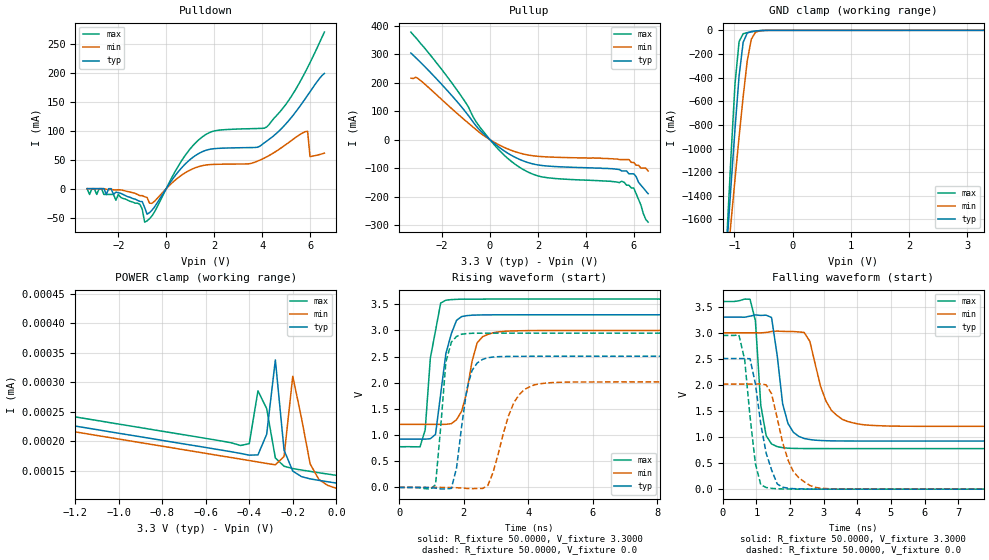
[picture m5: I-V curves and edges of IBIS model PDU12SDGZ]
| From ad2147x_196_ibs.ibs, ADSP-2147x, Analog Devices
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|   Model PDU12SDGZ
[Model]  PDU12SDGZ
Model_type I/O
Polarity   Non-Inverting
Enable   Active-Low
Vinl =   0.8000V
Vinh =   2.0000V
Vmeas =  1.6500V
Cref =   50.0000pF
Rref =   1.0000M
Vref =   0.0V
C_comp   3.1273pF   3.0540pF   3.2107pF
[Temperature Range]   25.0000   0.1250k   -40.0000
[Voltage Range]   3.3000V   3.0000V   3.6000V
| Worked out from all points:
|   slope of the pulldown table from 0 to 0.495 V, typ, clamps not added: 17.2 ohm
|   slope of the pullup table from 0 to 0.495 V, typ, clamps not added: 14.7 ohm
|   GND clamp passes 1 mA (typ) near -0.50 V on its own axis
|   POWER clamp passes 1 mA (typ) near -3.14 V on its own axis
|   rising waveform, R_fixture 50.0000, V_fixture 3.3000: 20-80 % time 360ps typ, 378ps min, 304ps max; typ from 0.924 V to 3.3 V
|   rising waveform, R_fixture 50.0000, V_fixture 0.0: 20-80 % time 350ps typ, 588ps min, 237ps max; typ from 0.001 V to 2.51 V
|   falling waveform, R_fixture 50.0000, V_fixture 3.3000: 20-80 % time 323ps typ, 522ps min, 214ps max; typ from 3.3 V to 0.924 V
|   falling waveform, R_fixture 50.0000, V_fixture 0.0: 20-80 % time 412ps typ, 522ps min, 283ps max; typ from 2.51 V to 0.001 V
[Pulldown]
|Voltage   I(typ)   I(min)   I(max)
-3.3V     0A         0A         0A
-1.1V     -22mA      -12mA      -27mA
-900mV    -32.5mA    -14mA      -57.82mA
-800mV    -44.05mA   -15.1mA    -55.6mA
-600mV    -37.35mA   -25.36mA   -47.27mA
600mV     33.96mA    22.08mA    45.46mA
1.5V      63.62mA    39.59mA    89.07mA
3.8V      71.36mA    47.3mA     103.7mA
4.3V      85.25mA    57.29mA    110.9mA
5.9V      161mA      98.95mA    209mA
6V        167mA      55.35mA    217.2mA
6.6V      198.6mA    61.25mA    270mA
[Pullup]
|Voltage   I(typ)   I(min)   I(max)
-3.3V     304.4mA    216.2mA    378mA
-3V       280.1mA    214.7mA    349mA
-1.6V     155.6mA    109.3mA    200.4mA
-400mV    31.78mA    23.06mA    42.13mA
900mV     -55.35mA   -37.84mA   -76.89mA
1.6V      -80.74mA   -54.02mA   -114.3mA
2.2V      -91.12mA   -59.76mA   -131.2mA
5.5V      -110mA     -70mA      -146mA
6V        -120mA     -80mA      -170mA
6.3V      -160mA     -100mA     -230mA
6.5V      -180mA     -100mA     -280mA
6.6V      -190mA     -110mA     -290mA
[GND_clamp]
|Voltage   I(typ)   I(min)   I(max)
-3.3V     -18.8A     -14.27A    -25.23A
-1.13V    -1.833A    -2.005A    -1.758A
-1.06V    -1.323A    -1.629A    -1.073A
-990mV    -833.7mA   -1.26A     -452.1mA
-920mV    -386mA     -901.5mA   -95.51mA
-850mV    -101.2mA   -561.6mA   -28.91mA
-780mV    -22.87mA   -257.9mA   -19.12mA
-710mV    -10.52mA   -75.06mA   -12.5mA
-640mV    -5.864mA   -17mA      -7.028mA
-570mV    -2.737mA   -4.59mA    -2.977mA
3.28V     128.5nA    160.5nA    124.7nA
[POWER_clamp]
|Voltage   I(typ)   I(min)   I(max)
-3.28V    87.8mA     355.9nA    3.529A
-2.92V    530.1nA    324.5nA    824.9mA
-2.76V    324.6nA    313.8nA    42.7mA
-2.52V    308.3nA    298.1nA    827.9nA
-2.4V     300.5nA    290.4nA    317.9nA
-400mV    176.8nA    167.7nA    196.2nA
-360mV    177.3nA    165.3nA    285.7nA
-280mV    338nA      160.5nA    172.1nA
-240mV    185.4nA    174.6nA    158.1nA
-200mV    149.9nA    310.3nA    154.2nA
-120mV    136.7nA    162nA      149.4nA
0V        129.6nA    120.8nA    142.7nA
[Ramp]
| variable   typ   min   max
dV/dt_r  1.5036/0.3496n   1.2097/0.5782n   1.7686/0.2369n
dV/dt_f  1.4257/0.3193n   1.0764/0.5223n   1.6927/0.2137n
R_load = 50.0000
[Rising Waveform]
R_fixture= 50.0000
V_fixture= 3.3000
V_fixture_min= 3.0000
V_fixture_max= 3.6000
L_fixture= 0.0H
C_fixture= 0.0F
|time   V(typ)   V(min)   V(max)
0s        923.8mV    1.206V     778.8mV
650ps     923.5mV    1.206V     776.7mV
810ps     922.9mV    1.206V     1.102V
970ps     932.5mV    1.206V     2.474V
1.13ns    1.014V     1.206V     2.996V
1.45ns    2.556V     1.207V     3.578V
1.78ns    3.193V     1.294V     3.595V
2.42ns    3.295V     2.765V     3.599V
2.91ns    3.299V     2.955V     3.6V
16ns      3.3V       3V         3.6V
[Rising Waveform]
R_fixture= 50.0000
V_fixture= 0.0
V_fixture_min= 0.0
V_fixture_max= 0.0
L_fixture= 0.0H
C_fixture= 0.0F
|time   V(typ)   V(min)   V(max)
0s        1.01mV     787.1uV    1.282mV
1.13ns    -12.08mV   853.7uV    52.52mV
1.45ns    -28.47mV   378.9uV    2.395V
1.78ns    369.1mV    -5.064mV   2.885V
1.94ns    1.172V     -10.74mV   2.929V
2.42ns    2.378V     -18.35mV   2.947V
2.75ns    2.479V     39.28mV    2.948V
3.56ns    2.505V     1.627V     2.949V
4.2ns     2.507V     1.963V     2.949V
16ns      2.507V     2.017V     2.949V
[Falling Waveform]
R_fixture= 50.0000
V_fixture= 3.3000
V_fixture_min= 3.0000
V_fixture_max= 3.6000
L_fixture= 0.0H
C_fixture= 0.0F
|time   V(typ)   V(min)   V(max)
0s        3.3V       3V         3.6V
810ps     3.319V     3V         3.643V
970ps     3.343V     3V         3.234V
1.29ns    3.338V     3.006V     1.027V
1.62ns    2.555V     3.032V     816.4mV
1.94ns    1.259V     3.025V     787.3mV
2.59ns    952.6mV    2.835V     779.2mV
3.23ns    927.3mV    1.513V     778.7mV
4.04ns    923.9mV    1.25V      778.8mV
16ns      923.8mV    1.206V     778.8mV
[Falling Waveform]
R_fixture= 50.0000
V_fixture= 0.0
V_fixture_min= 0.0
V_fixture_max= 0.0
L_fixture= 0.0H
C_fixture= 0.0F
|time   V(typ)   V(min)   V(max)
0s        2.507V     2.017V     2.949V
480ps     2.507V     2.017V     2.958V
650ps     2.507V     2.017V     2.489V
810ps     2.503V     2.017V     1.397V
970ps     2.021V     2.017V     490.3mV
1.29ns    692.3mV    2.001V     33.61mV
1.62ns    99.56mV    1.36V      8.486mV
2.1ns     10.61mV    334.9mV    1.877mV
2.75ns    1.872mV    35.11mV    1.359mV
16ns      1.008mV    782.9uV    1.282mV
